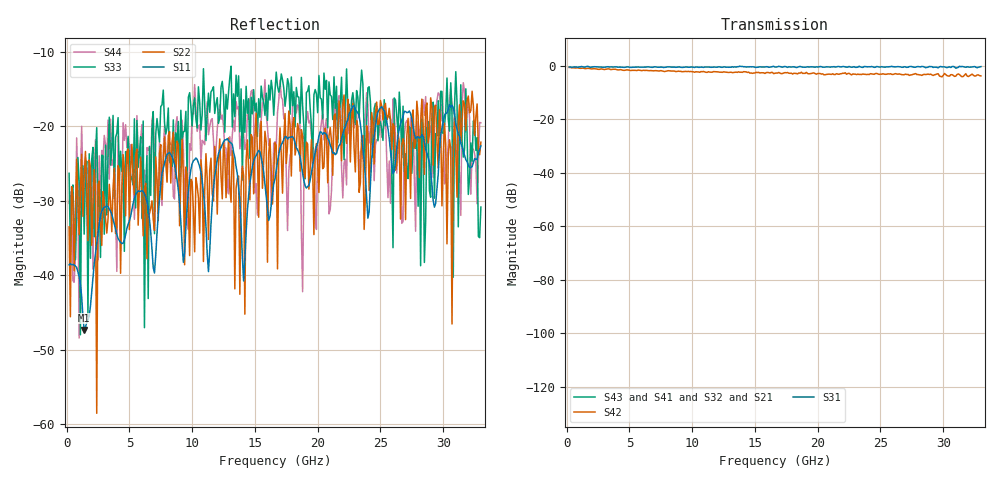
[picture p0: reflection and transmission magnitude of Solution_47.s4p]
# GHZ S RI R 50
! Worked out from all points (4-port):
!   329 points, 200 MHz to 33 GHz, reference 50 ohm
!   strongest paths, dB at 200 MHz, 8.4 GHz, 16.6 GHz, 24.8 GHz, 33 GHz:
!     S31: -0.4, -0.4, -0.3, -0.2, -0.2
!     S42: -0.5, -1.9, -2.7, -2.9, -3.7
!     S43: -, -, -, -, -
!     S41: -, -, -, -, -
!     S32: -, -, -, -, -
!     S21: -, -, -, -, -
!   lowest |S11| = -47.3 dB at 1.4 GHz (marker M1), VSWR 1.01, Z = 50.4 - j0.00638 ohm
!   |S11| at or under -10 dB: start of sweep to end of sweep
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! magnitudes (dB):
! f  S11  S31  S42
! 200 MHz  -38.6  -0.4  -0.5
! 1.4 GHz  -47.3  -0.4  -0.9
! 2.3 GHz  -37.0  -0.3  -1.0
! 2.4 GHz  -35.7  -0.3  -1.1
! 2.5 GHz  -34.3  -0.3  -1.2
! 5.2 GHz  -31.2  -0.5  -1.6
! 33 GHz  -22.6  -0.2  -3.7
